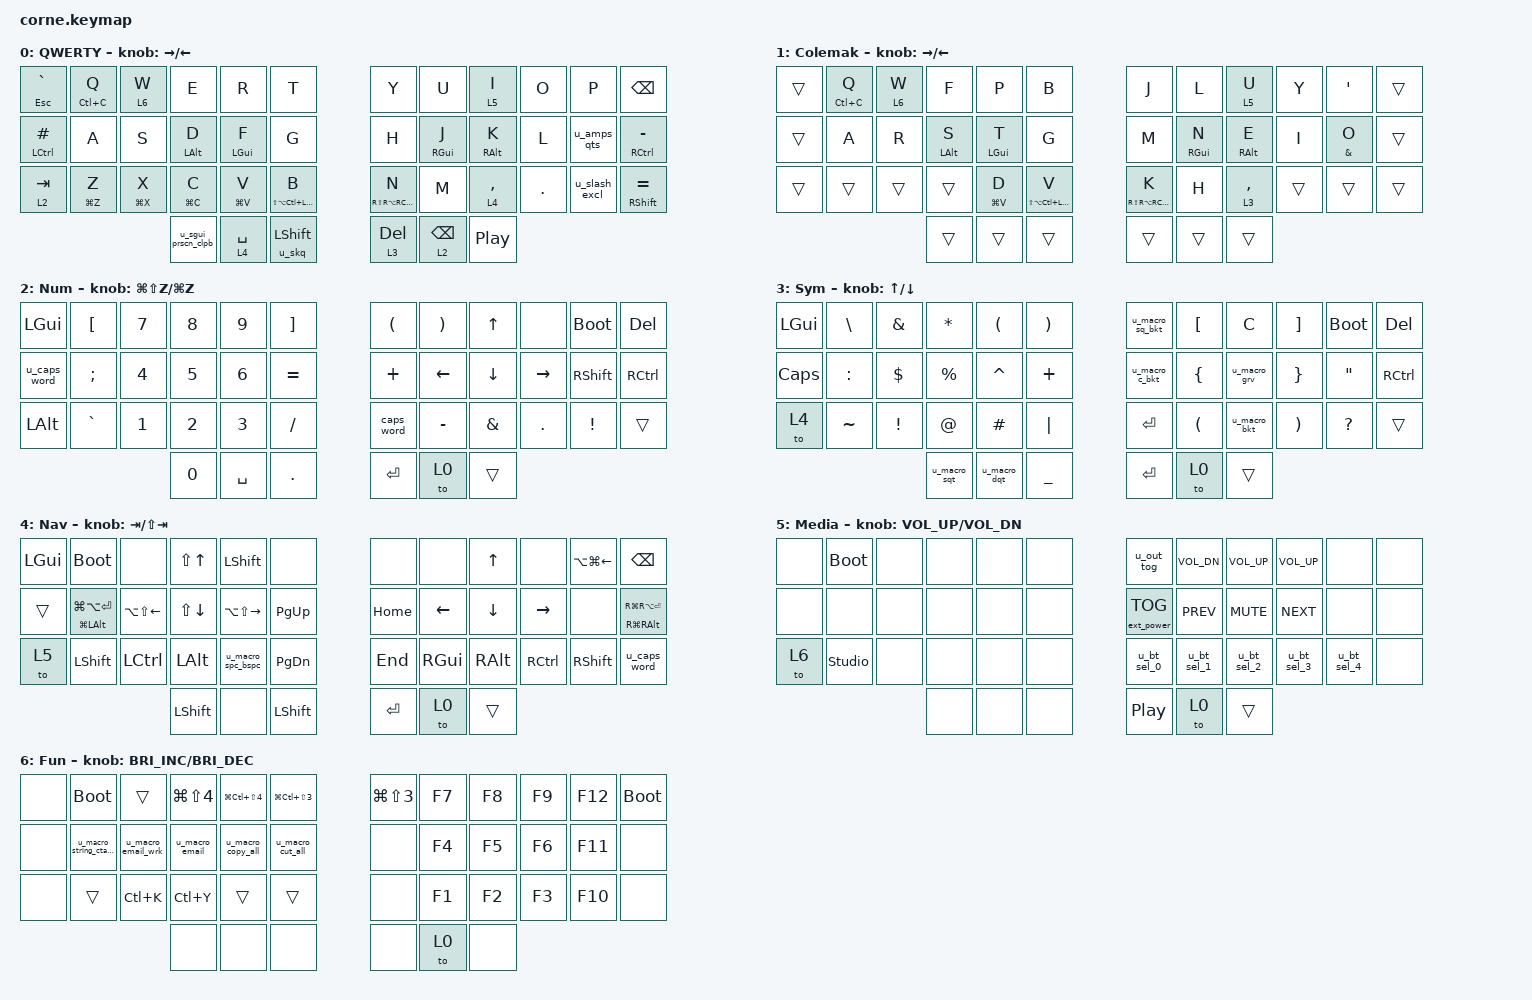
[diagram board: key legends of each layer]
#include <behaviors/mouse_key_press.dtsi>
#include <behaviors.dtsi>
#include <dt-bindings/zmk/bt.h>
#include <dt-bindings/zmk/ext_power.h>
#include <dt-bindings/zmk/keys.h>
#include <dt-bindings/zmk/outputs.h>

/ {
    keymap {
        compatible = "zmk,keymap";

        QWERTY {
            display-name = "QWERTY";
            bindings = <
&u_mt ESC GRAVE   &u_mt LC(C) Q  &u_lt 6 W      &kp E               &kp R          &kp T                       &kp Y                     &kp U         &u_lt 5 I     &kp O    &kp P          &kp BSPC
&u_mt LCTRL HASH  &kp A          &kp S          &u_mt LALT D        &u_mt LGUI F   &kp G                       &kp H                     &u_mt RGUI J  &u_mt RALT K  &kp L    &u_amps_qts    &u_mt RCTRL MINUS
&u_lt 2 TAB       &u_mt LG(Z) Z  &u_mt LG(X) X  &u_mt LG(C) C       &u_mt LG(V) V  &u_mt LS(LA(LC(LGUI))) B    &u_mt RS(RA(RC(RGUI))) N  &kp M         &lt 4 COMMA   &kp DOT  &u_slash_excl  &u_mt RSHIFT EQUAL
                                                &u_sgui_prscn_clpb  &u_lt 4 SPACE  &u_skq LSHIFT               &u_lt 3 DEL               &u_lt 2 BSPC  &kp C_PP
            >;

            sensor-bindings = <&inc_dec_kp RIGHT LEFT>;
        };

        COLEMAK {
            display-name = "Colemak";
            bindings = <
&trans  &u_mt LC(C) Q  &u_lt 6 W  &kp F         &kp P          &kp B                       &kp J                     &kp L         &u_lt 5 U      &kp Y   &kp SQT       &trans
&trans  &kp A          &kp R      &u_mt LALT S  &u_mt LGUI T   &kp G                       &kp M                     &u_mt RGUI N  &u_mt RALT E   &kp I   &u_mt AMPS O  &trans
&trans  &trans         &trans     &trans        &u_mt LG(V) D  &u_mt LS(LA(LC(LGUI))) V    &u_mt RS(RA(RC(RGUI))) K  &kp H         &u_lt 3 COMMA  &trans  &trans        &trans
                                  &trans        &trans         &trans                      &trans                    &trans        &trans
            >;

            sensor-bindings = <&inc_dec_kp RIGHT LEFT>;
        };

        NUM {
            display-name = "Num";
            bindings = <
&kp LGUI      &kp LBKT   &kp N7  &kp N8  &kp N9     &kp RBKT     &kp LPAR    &kp RPAR   &kp UP    &none      &bootloader  &kp DEL
&u_caps_word  &kp SEMI   &kp N4  &kp N5  &kp N6     &kp EQUAL    &kp PLUS    &kp LEFT   &kp DOWN  &kp RIGHT  &kp RSHFT    &kp RCTRL
&kp LEFT_ALT  &kp GRAVE  &kp N1  &kp N2  &kp N3     &kp SLASH    &caps_word  &kp MINUS  &kp AMPS  &kp DOT    &kp EXCL     &trans
                                 &kp N0  &kp SPACE  &kp DOT      &kp RET     &to 0      &trans
            >;

            sensor-bindings = <&inc_dec_kp LG(LS(Z)) LG(Z)>;
        };

        SYM {
            display-name = "Sym";
            bindings = <
&kp LGUI  &kp BSLH   &kp AMPS  &kp ASTRK     &kp LPAR      &kp RPAR     &u_macro_sq_bkt  &kp LBKT  &kp C         &kp RBKT  &bootloader  &kp DEL
&kp CLCK  &kp COLON  &kp DLLR  &kp PRCNT     &kp CARET     &kp PLUS     &u_macro_c_bkt   &kp LBRC  &u_macro_grv  &kp RBRC  &kp DQT      &kp RCTRL
&to 4     &kp TILDE  &kp EXCL  &kp AT        &kp HASH      &kp PIPE     &kp RET          &kp LPAR  &u_macro_bkt  &kp RPAR  &kp QMARK    &trans
                               &u_macro_sqt  &u_macro_dqt  &kp UNDER    &kp RET          &to 0     &trans
            >;

            sensor-bindings = <&inc_dec_kp UP DOWN>;
        };

        NAV {
            display-name = "Nav";
            bindings = <
&kp LGUI  &bootloader                       &none             &kp LS(UP)    &kp LEFT_SHIFT     &none            &none     &none     &kp UP    &none      &kp LA(LG(LEFT))  &kp BACKSPACE
&trans    &u_mt LG(LEFT_ALT) LG(LA(ENTER))  &kp LA(LS(LEFT))  &kp LS(DOWN)  &kp LA(LS(RIGHT))  &kp PAGE_UP      &kp HOME  &kp LEFT  &kp DOWN  &kp RIGHT  &none             &u_mt RG(RALT) RG(RA(ENTER))
&to 5     &kp LSHIFT                        &kp LCTRL         &kp LALT      &u_macro_spc_bspc  &kp PAGE_DOWN    &kp END   &kp RGUI  &kp RALT  &kp RCTRL  &kp RSHIFT        &u_caps_word
                                                              &kp LSHFT     &none              &kp LSHIFT       &kp RET   &to 0     &trans
            >;

            sensor-bindings = <&inc_dec_kp TAB LS(TAB)>;
        };

        MEDIA {
            display-name = "Media";
            bindings = <
&none  &bootloader     &none  &none  &none  &none    &u_out_tog         &kp C_VOL_DN  &kp C_VOL_UP  &kp C_VOL_UP  &none        &none
&none  &none           &none  &none  &none  &none    &ext_power EP_TOG  &kp C_PREV    &kp C_MUTE    &kp C_NEXT    &none        &none
&to 6  &studio_unlock  &none  &none  &none  &none    &u_bt_sel_0        &u_bt_sel_1   &u_bt_sel_2   &u_bt_sel_3   &u_bt_sel_4  &none
                              &none  &none  &none    &kp C_PLAY_PAUSE   &to 0         &trans
            >;

            sensor-bindings = <&inc_dec_kp C_VOL_UP C_VOL_DN>;
        };

        FUN {
            display-name = "Fun";
            bindings = <
&none  &bootloader            &trans              &kp LG(LS(N4))  &kp LG(LC(LS(N4)))  &kp LG(LC(LS(NUMBER_3)))    &kp LG(LS(N3))  &kp F7  &kp F8  &kp F9  &kp F12  &bootloader
&none  &u_macro_string_ctask  &u_macro_email_wrk  &u_macro_email  &u_macro_copy_all   &u_macro_cut_all            &none           &kp F4  &kp F5  &kp F6  &kp F11  &none
&none  &trans                 &kp LC(K)           &kp LC(Y)       &trans              &trans                      &none           &kp F1  &kp F2  &kp F3  &kp F10  &none
                                                  &none           &none               &none                       &none           &to 0   &none
            >;

            sensor-bindings = <&inc_dec_kp C_BRI_INC C_BRI_DEC>;
        };
    };

    combos {
        compatible = "zmk,combos";

        u_combo_to_base {
            bindings = <&to 1>;
            key-positions = <10 11>;
        };

        u_combo_esc {
            bindings = <&kp ESC>;
            key-positions = <24 35>;
        };

        u_combo_to_extra {
            bindings = <&to 0>;
            key-positions = <23 22>;
        };

        u_combo_zoom {
            bindings = <&u_macro_app_zoom>;
            key-positions = <24 25>;
        };

        u_combo_zoom_mic {
            bindings = <&u_macro_app_zoom_mic>;
            key-positions = <18 19>;
        };

        u_combo_zoom_end {
            bindings = <&u_macro_app_close_window>;
            key-positions = <1 10>;
        };

        u_combo_search_selected {
            bindings = <&u_macro_search_selected>;
            key-positions = <16 17>;
        };
    };

    macros {
        u_macro_u_bt_sel_0: u_macro_u_bt_sel_0 {
            compatible = "zmk,behavior-macro";
            #binding-cells = <0>;
            wait-ms = <0>;
            bindings = <&bt BT_SEL 0 &bt BT_CLR>;
        };

        u_macro_u_bt_sel_1: u_macro_u_bt_sel_1 {
            compatible = "zmk,behavior-macro";
            #binding-cells = <0>;
            wait-ms = <0>;
            bindings = <&bt BT_SEL 1 &bt BT_CLR>;
        };

        u_macro_u_bt_sel_2: u_macro_u_bt_sel_2 {
            compatible = "zmk,behavior-macro";
            #binding-cells = <0>;
            wait-ms = <0>;
            bindings = <&bt BT_SEL 2 &bt BT_CLR>;
        };

        u_macro_u_bt_sel_3: u_macro_u_bt_sel_3 {
            compatible = "zmk,behavior-macro";
            #binding-cells = <0>;
            wait-ms = <0>;
            bindings = <&bt BT_SEL 3 &bt BT_CLR>;
        };

        u_macro_u_bt_sel_4: u_macro_u_bt_sel_4 {
            compatible = "zmk,behavior-macro";
            #binding-cells = <0>;
            wait-ms = <0>;
            bindings = <&bt BT_SEL 4 &bt BT_CLR>;
        };

        u_macro_btn1: u_macro_btn1 {
            compatible = "zmk,behavior-macro";
            #binding-cells = <0>;
            wait-ms = <0>;
            bindings = <&kp KP_SLASH &kp KP_N5>;
        };

        u_macro_btn2: u_macro_btn2 {
            compatible = "zmk,behavior-macro";
            #binding-cells = <0>;
            wait-ms = <0>;
            bindings = <&kp KP_MINUS &kp KP_N5>;
        };

        u_macro_btn3: u_macro_btn3 {
            compatible = "zmk,behavior-macro";
            #binding-cells = <0>;
            wait-ms = <0>;
            bindings = <&kp KP_ASTERISK &kp KP_N5>;
        };

        u_macro_email_wrk: u_macro_email_wrk {
            compatible = "zmk,behavior-macro";
            #binding-cells = <0>;
            bindings = <&kp R &kp Y &kp E &kp E &kp AT &kp H &kp E &kp A &kp L &kp T &kp H &kp F &kp I &kp R &kp S &kp T &kp DOT &kp O &kp R &kp G>;
        };

        u_macro_email: u_macro_email {
            compatible = "zmk,behavior-macro";
            #binding-cells = <0>;
            bindings = <&none &kp L &kp O &kp O &kp K &kp F &kp O &kp R &kp DOT &kp R &kp A &kp C &kp H &kp E &kp L &kp AT &kp G &kp M &kp A &kp I &kp L &kp DOT &kp C &kp O &kp M>;
        };

        u_macro_string_ctask: u_macro_string_ctask {
            compatible = "zmk,behavior-macro";
            #binding-cells = <0>;
            bindings = <&none &kp LS(S) &kp E &kp R &kp V &kp E &kp R &kp L &kp E &kp S &kp S &kp SPACE &kp LS(C) &kp LS(D) &kp SPACE &kp D &kp E &kp P &kp L &kp O &kp Y &kp SPACE>;
        };

        u_macro_app_zoom: u_macro_app_zoom {
            compatible = "zmk,behavior-macro";
            #binding-cells = <0>;
            bindings = <&kp LG(LA(LC(LS(Z))))>;
        };

        u_macro_app_zoom_mic: u_macro_app_zoom_mic {
            compatible = "zmk,behavior-macro";
            #binding-cells = <0>;
            bindings = <&u_macro_app_zoom &kp LG(LS(A))>;
        };

        u_macro_app_close_window: u_macro_app_close_window {
            compatible = "zmk,behavior-macro";
            #binding-cells = <0>;
            bindings = <&kp LG(W) &kp ENTER>;
            wait-ms = <500>;
        };

        u_macro_string_ryee: u_macro_string_ryee {
            compatible = "zmk,behavior-macro";
            #binding-cells = <0>;
            bindings = <&none &kp R &kp Y &kp E &kp E>;
        };

        u_macro_string_name: u_macro_string_name {
            compatible = "zmk,behavior-macro";
            #binding-cells = <0>;
            bindings = <&none &kp LS(R) &kp A &kp C &kp H &kp E &kp L &kp SPACE &kp LS(Y) &kp E &kp E>;
        };

        u_macro_cut_all: u_macro_cut_all {
            compatible = "zmk,behavior-macro";
            #binding-cells = <0>;
            bindings = <&kp LG(A) &kp LG(X)>;
        };

        u_macro_copy_all: u_macro_copy_all {
            compatible = "zmk,behavior-macro";
            #binding-cells = <0>;
            bindings = <&kp LG(A) &kp LG(C)>;
        };

        u_macro_bkt: u_macro_bkt {
            compatible = "zmk,behavior-macro";
            #binding-cells = <0>;
            bindings = <&kp LPAR &kp RPAR &kp LEFT>;
        };

        u_macro_sq_bkt: u_macro_sq_bkt {
            compatible = "zmk,behavior-macro";
            #binding-cells = <0>;
            bindings = <&kp LBKT &kp RBKT &kp LEFT>;
        };

        u_macro_c_bkt: u_macro_c_bkt {
            compatible = "zmk,behavior-macro";
            #binding-cells = <0>;
            bindings = <&kp LBRC &kp RBRC &kp LEFT>;
        };

        u_macro_angled_brackets: u_macro_angled_brackets {
            compatible = "zmk,behavior-macro";
            #binding-cells = <0>;
            bindings = <&kp LT &kp GT &kp LEFT>;
        };

        u_macro_dqt: u_macro_dqt {
            compatible = "zmk,behavior-macro";
            #binding-cells = <0>;
            bindings = <&kp DQT &kp DQT &kp LEFT>;
        };

        u_macro_sqt: u_macro_sqt {
            compatible = "zmk,behavior-macro";
            #binding-cells = <0>;
            bindings = <&kp SQT &kp SQT &kp LEFT>;
        };

        u_macro_grv: u_macro_grv {
            compatible = "zmk,behavior-macro";
            #binding-cells = <0>;
            bindings = <&kp GRAVE &kp GRAVE &kp LEFT>;
        };

        u_macro_search_selected: u_macro_search_selected {
            compatible = "zmk,behavior-macro";
            #binding-cells = <0>;
            bindings = <&kp LG(C) &kp LG(F) &kp LG(V)>;
        };

        u_macro_spc_bspc: u_space_bkspc {
            compatible = "zmk,behavior-macro";
            #binding-cells = <0>;
            bindings = <&kp SPACE &kp BSPC>;
            label = "U_SPACE_BKSPC";
        };
    };

    behaviors {
        u_bt_sel_0: u_bt_sel_0 {
            compatible = "zmk,behavior-mod-morph";
            #binding-cells = <0>;
            bindings = <&bt BT_SEL 0>, <&u_macro_u_bt_sel_0>;

            mods = <(MOD_LSFT|MOD_RSFT)>;
        };

        u_bt_sel_1: u_bt_sel_1 {
            compatible = "zmk,behavior-mod-morph";
            #binding-cells = <0>;
            bindings = <&bt BT_SEL 1>, <&u_macro_u_bt_sel_1>;

            mods = <(MOD_LSFT|MOD_RSFT)>;
        };

        u_bt_sel_2: u_bt_sel_2 {
            compatible = "zmk,behavior-mod-morph";
            #binding-cells = <0>;
            bindings = <&bt BT_SEL 2>, <&u_macro_u_bt_sel_2>;

            mods = <(MOD_LSFT|MOD_RSFT)>;
        };

        u_bt_sel_3: u_bt_sel_3 {
            compatible = "zmk,behavior-mod-morph";
            #binding-cells = <0>;
            bindings = <&bt BT_SEL 3>, <&u_macro_u_bt_sel_3>;

            mods = <(MOD_LSFT|MOD_RSFT)>;
        };

        u_bt_sel_4: u_bt_sel_4 {
            compatible = "zmk,behavior-mod-morph";
            #binding-cells = <0>;
            bindings = <&bt BT_SEL 4>, <&u_macro_u_bt_sel_4>;

            mods = <(MOD_LSFT|MOD_RSFT)>;
        };

        u_out_tog: u_out_tog {
            compatible = "zmk,behavior-mod-morph";
            #binding-cells = <0>;
            bindings = <&out OUT_TOG>, <&out OUT_USB>;

            mods = <(MOD_LSFT|MOD_RSFT)>;
        };

        u_caps_word: u_caps_word {
            compatible = "zmk,behavior-mod-morph";
            #binding-cells = <0>;
            bindings = <&caps_word>, <&kp CAPS>;

            mods = <(MOD_LSFT|MOD_RSFT)>;
        };

        u_to_U_BASE: u_to_U_BASE {
            compatible = "zmk,behavior-tap-dance";
            #binding-cells = <0>;
            tapping-term-ms = <200>;
            bindings = <&none>, <&to 1>;
        };

        u_to_U_EXTRA: u_to_U_EXTRA {
            compatible = "zmk,behavior-tap-dance";
            #binding-cells = <0>;
            tapping-term-ms = <200>;
            bindings = <&none>, <&to 0>;
        };

        u_to_U_TAP: u_to_U_TAP {
            compatible = "zmk,behavior-tap-dance";
            #binding-cells = <0>;
            tapping-term-ms = <200>;
            bindings = <&none>, <&to 0>;
        };

        u_to_U_BUTTON: u_to_U_BUTTON {
            compatible = "zmk,behavior-tap-dance";
            #binding-cells = <0>;
            tapping-term-ms = <200>;
            bindings = <&none>, <&to 0>;
        };

        u_to_U_NAV: u_to_U_NAV {
            compatible = "zmk,behavior-tap-dance";
            #binding-cells = <0>;
            tapping-term-ms = <200>;
            bindings = <&none>, <&to 5>;
        };

        u_to_U_MOUSE: u_to_U_MOUSE {
            compatible = "zmk,behavior-tap-dance";
            #binding-cells = <0>;
            tapping-term-ms = <200>;
            bindings = <&none>, <&to 0>;
        };

        u_to_U_MEDIA: u_to_U_MEDIA {
            compatible = "zmk,behavior-tap-dance";
            #binding-cells = <0>;
            tapping-term-ms = <200>;
            bindings = <&none>, <&to 6>;
        };

        u_to_U_NUM: u_to_U_NUM {
            compatible = "zmk,behavior-tap-dance";
            #binding-cells = <0>;
            tapping-term-ms = <200>;
            bindings = <&none>, <&to 3>;
        };

        u_to_U_SYM: u_to_U_SYM {
            compatible = "zmk,behavior-tap-dance";
            #binding-cells = <0>;
            tapping-term-ms = <200>;
            bindings = <&none>, <&to 4>;
        };

        u_to_U_FUN: u_to_U_FUN {
            compatible = "zmk,behavior-tap-dance";
            #binding-cells = <0>;
            tapping-term-ms = <200>;
            bindings = <&none>, <&to 0>;
        };

        u_mt: u_mt {
            compatible = "zmk,behavior-hold-tap";
            #binding-cells = <2>;
            tapping_term_ms = <200>;
            flavor = "tap-preferred";
            bindings = <&kp>, <&kp>;
        };

        u_lt: u_lt {
            compatible = "zmk,behavior-hold-tap";
            #binding-cells = <2>;
            tapping_term_ms = <200>;
            flavor = "tap-preferred";
            bindings = <&mo>, <&kp>;
        };

        u_comma_inner_morph: u_comma_inner_morph {
            compatible = "zmk,behavior-mod-morph";
            #binding-cells = <0>;
            bindings = <&kp LESS_THAN>, <&kp LEFT_BRACE>;

            mods = <(MOD_LCTL|MOD_RCTL)>;
        };

        u_comma_morph: u_comma_morph {
            compatible = "zmk,behavior-mod-morph";
            #binding-cells = <0>;
            bindings = <&kp COMMA>, <&u_comma_inner_morph>;

            mods = <(MOD_LSFT|MOD_RSFT)>;
        };

        u_skq: u_sticky_key_quick_release {
            compatible = "zmk,behavior-sticky-key";
            #binding-cells = <1>;
            bindings = <&kp>;
            release-after-ms = <1000>;
            quick-release;
            ignore-modifiers;
        };

        u_ssh_capw: u_sticky_shift_capw {
            compatible = "zmk,behavior-tap-dance";
            #binding-cells = <0>;
            bindings = <&u_skq LSHFT>, <&caps_word>;

            tapping-term-ms = <200>;
        };

        u_sgui_prscn_clpb: u_sgui_prscn_clpb {
            compatible = "zmk,behavior-tap-dance";
            #binding-cells = <0>;
            bindings = <&u_skq LGUI>, <&kp LG(LS(LC(N4)))>;

            tapping-term-ms = <200>;
        };

        u_ssh_cw_caps: u_ssh_cw_caps {
            compatible = "zmk,behavior-mod-morph";
            #binding-cells = <0>;
            bindings = <&u_ssh_capw>, <&kp CAPS>;

            mods = <(MOD_LSFT|MOD_RSFT)>;
        };

        u_cpp: u_cpp {
            compatible = "zmk,behavior-tap-dance";
            #binding-cells = <0>;
            tapping-term-ms = <200>;
            bindings = <&none>, <&kp C_PP>;
        };

        u_lt_cpp: u_lt_cpp {
            compatible = "zmk,behavior-hold-tap";
            #binding-cells = <2>;
            tapping_term_ms = <200>;
            flavor = "tap-preferred";
            bindings = <&mo>, <&u_cpp>;
        };

        u_slash_excl: u_slash_excl {
            compatible = "zmk,behavior-tap-dance";
            #binding-cells = <0>;
            bindings = <&kp SLASH>, <&kp EXCL>;
        };

        u_amps_qts: u_amps_qts {
            compatible = "zmk,behavior-tap-dance";
            #binding-cells = <0>;
            bindings = <&kp SQT>, <&kp AMPS>;
        };

        u_grv_esc: u_grv_esc {
            compatible = "zmk,behavior-tap-dance";
            label = "U_GRV_ESC";
            #binding-cells = <0>;
            bindings = <&kp GRAVE>, <&kp ESC>;
        };

        u_bspc_at: u_bspc_at {
            compatible = "zmk,behavior-tap-dance";
            label = "U_BSPC_AT";
            #binding-cells = <0>;
            bindings = <&kp BSPC>, <&kp AT>;
        };
    };
};
